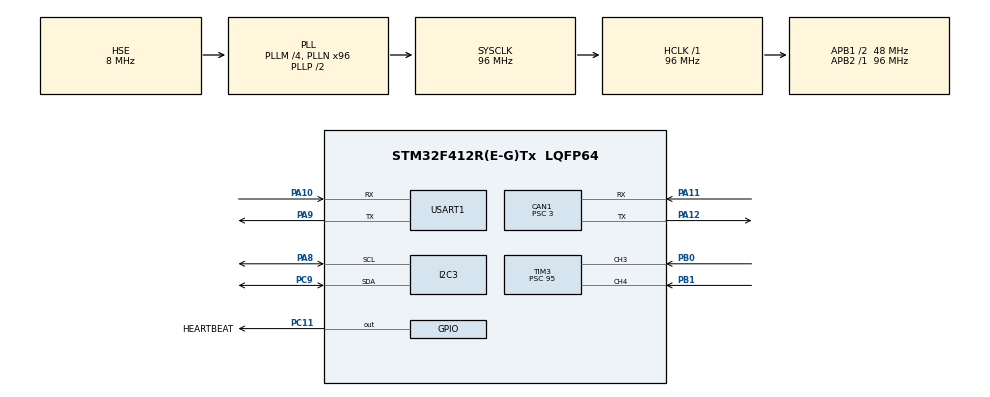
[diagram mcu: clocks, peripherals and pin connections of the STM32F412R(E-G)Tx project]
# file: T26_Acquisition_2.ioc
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CAN1.ABOM=ENABLE
CAN1.BS1=CAN_BS1_11TQ
CAN1.BS2=CAN_BS2_4TQ
CAN1.CalculateBaudRate=1000000
CAN1.CalculateTimeBit=1000
CAN1.CalculateTimeQuantum=62.5
CAN1.NART=ENABLE
CAN1.Prescaler=3
Dma.I2C3_RX.0.Direction=DMA_PERIPH_TO_MEMORY
Dma.I2C3_RX.0.FIFOMode=DMA_FIFOMODE_DISABLE
Dma.I2C3_RX.0.Instance=DMA1_Stream1
Dma.I2C3_RX.0.MemDataAlignment=DMA_MDATAALIGN_BYTE
Dma.I2C3_RX.0.MemInc=DMA_MINC_ENABLE
Dma.I2C3_RX.0.Mode=DMA_NORMAL
Dma.I2C3_RX.0.PeriphDataAlignment=DMA_PDATAALIGN_BYTE
Dma.I2C3_RX.0.PeriphInc=DMA_PINC_DISABLE
Dma.I2C3_RX.0.Priority=DMA_PRIORITY_LOW
Dma.Request0=I2C3_RX
IWDG.Prescaler=IWDG_PRESCALER_64
IWDG.Reload=1000
Mcu.Family=STM32F4
Mcu.Name=STM32F412R(E-G)Tx
Mcu.Package=LQFP64
NVIC.CAN1_RX0_IRQn=true\:0\:0\:false\:false\:true\:true\:true\:true
NVIC.CAN1_RX1_IRQn=true\:0\:0\:false\:false\:true\:true\:true\:true
NVIC.CAN1_SCE_IRQn=true\:0\:0\:false\:false\:true\:true\:true\:true
NVIC.CAN1_TX_IRQn=true\:0\:0\:false\:false\:true\:true\:true\:true
NVIC.DMA1_Stream1_IRQn=true\:1\:0\:false\:false\:true\:false\:true\:true
NVIC.I2C3_ER_IRQn=true\:1\:0\:false\:false\:true\:true\:true\:true
NVIC.I2C3_EV_IRQn=true\:1\:0\:false\:false\:true\:true\:true\:true
NVIC.PriorityGroup=NVIC_PRIORITYGROUP_4
NVIC.TIM3_IRQn=true\:0\:0\:false\:false\:true\:true\:true\:true
NVIC.TIM7_IRQn=true\:0\:0\:false\:false\:true\:true\:true\:true
PA10.Mode=Asynchronous
PA10.Signal=USART1_RX
PA11.GPIO_PuPd=GPIO_PULLUP
PA11.Mode=CAN_Activate
PA11.Signal=CAN1_RX
PA12.Mode=CAN_Activate
PA12.Signal=CAN1_TX
PA13.Mode=Serial_Wire
PA13.Signal=SYS_JTMS-SWDIO
PA14.Mode=Serial_Wire
PA14.Signal=SYS_JTCK-SWCLK
PA8.GPIO_PuPd=GPIO_PULLUP
PA8.Mode=I2C
PA8.Signal=I2C3_SCL
PA9.Mode=Asynchronous
PA9.Signal=USART1_TX
PB0.Signal=S_TIM3_CH3
PB1.Signal=S_TIM3_CH4
PC11.GPIO_Label=HEARTBEAT
PC11.Signal=GPIO_Output
PC9.GPIO_PuPd=GPIO_PULLUP
PC9.Mode=I2C
PC9.Signal=I2C3_SDA
PH0\ -\ OSC_IN.Mode=HSE-External-Oscillator
PH0\ -\ OSC_IN.Signal=RCC_OSC_IN
PH1\ -\ OSC_OUT.Mode=HSE-External-Oscillator
PH1\ -\ OSC_OUT.Signal=RCC_OSC_OUT
ProjectManager.HeapSize=0x200
ProjectManager.StackSize=0x400
ProjectManager.TargetToolchain=STM32CubeIDE
RCC.AHBFreq_Value=96000000
RCC.APB1CLKDivider=RCC_HCLK_DIV2
RCC.APB1Freq_Value=48000000
RCC.APB1TimFreq_Value=96000000
RCC.APB2Freq_Value=96000000
RCC.APB2TimFreq_Value=96000000
RCC.CortexFreq_Value=96000000
RCC.HCLKFreq_Value=96000000
RCC.HSE_VALUE=8000000
RCC.PLLM=4
RCC.PLLN=96
RCC.PLLSourceVirtual=RCC_PLLSOURCE_HSE
RCC.SYSCLKFreq_VALUE=96000000
RCC.SYSCLKSource=RCC_SYSCLKSOURCE_PLLCLK
RCC.USBFreq_Value=96000000
RCC.VCOOutputFreq_Value=192000000
SH.S_TIM3_CH3.0=TIM3_CH3,Input_Capture3_from_TI3
SH.S_TIM3_CH4.0=TIM3_CH4,Input_Capture4_from_TI4
TIM3.Channel-Input_Capture3_from_TI3=TIM_CHANNEL_3
TIM3.Channel-Input_Capture4_from_TI4=TIM_CHANNEL_4
TIM3.ICFilter_CH3=4
TIM3.ICFilter_CH4=4
TIM3.Prescaler=95
TIM7.Period=47999
TIM7.Prescaler=1
USART1.VirtualMode=VM_ASYNC
VP_IWDG_VS_IWDG.Mode=IWDG_Activate
VP_TIM7_VS_ClockSourceINT.Mode=Enable_Timer
board=custom

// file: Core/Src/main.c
/* USER CODE BEGIN Header */
/**
  ******************************************************************************
  * @file           : main.c
  * @brief          : Main program body
  ******************************************************************************
  * @attention
  *
  * Copyright (c) 2026 STMicroelectronics.
  * All rights reserved.
  *
  * This software is licensed under terms that can be found in the LICENSE file
  * in the root directory of this software component.
  * If no LICENSE file comes with this software, it is provided AS-IS.
  *
  ******************************************************************************
  */
/* USER CODE END Header */
#include "main.h"
#include "can.h"
#include "dma.h"
#include "i2c.h"
#include "iwdg.h"
#include "tim.h"
#include "usart.h"
#include "gpio.h"

/* USER CODE BEGIN Includes */
#include <stdio.h>
#include <math.h>
#include <string.h>
#include "data_t26.h"   // Generated by cantools from DBC (AQT2 message, etc.)
#include "mlx90641.h"
#include "thermal_can.h"
#include "wheel_speed.h"

/* USER CODE END Includes */

/* USER CODE BEGIN PD */
// CAN fault must last this long before CAN1 is fully restarted (ABOM normally clears bus-off in a few ms)
#define CAN_RECOVER_MS  200
#define CAN_DEBUG_ITS   (CAN_IT_TX_MAILBOX_EMPTY | CAN_IT_ERROR_WARNING | CAN_IT_ERROR_PASSIVE | \
                         CAN_IT_BUSOFF | CAN_IT_LAST_ERROR_CODE | CAN_IT_ERROR)

// 1 = read the MLX90641 (non-blocking: I2C by interrupt + DMA) and stream it on CAN
#define INFRARED_CAMERA_ENABLE  1

/* USER CODE END PD */

/* USER CODE BEGIN PV */
volatile uint32_t time_ms = 0;

// --- DEBUG SNAPSHOT (add "aqt2" to Live Expressions) ---
typedef struct {
    uint32_t time_ms;
    uint8_t  iwdg_reset;            // 1 = last reset was caused by the watchdog
    uint8_t  wheel_speed_self_check;    // 1 = rpm calculation passed its boot test
    WheelSpeed wheel[2];            // copy of wheel_speed[]: [0] = PB0 front left, [1] = PB1 front right
    struct {
        uint32_t tx_queued;         // AQT2 frames queued (every 10 ms from the TIM7 interrupt)
        uint32_t tx_queue_fail;     // AQT2 not queued (no free mailbox / CAN not running)
        uint32_t wheel_frame_max_gap_ms;    // longest interval between two queued AQT2 frames (expected 10)
        uint32_t tx_ok;             // frame ACKed on the bus
        uint32_t err_count;         // HAL_CAN_ErrorCallback hits
        uint32_t recover_count;     // CAN1 restarts done by can_watchdog()
        uint32_t last_error;        // HAL_CAN_ERROR_* bits of the latest error (0x20 ACK, 0x08 stuff, 0x10 form,
                                    // 0x40/0x80 bit rec/dom, 0x100 CRC, 0x04 bus-off, 0x1000 TX_TERR0...)
        uint32_t error_flags;       // every HAL_CAN_ERROR_* bit seen since boot
        uint8_t  tec;               // transmit error counter (>=128 passive, >255 bus-off)
        uint8_t  rec;               // receive error counter
        uint8_t  bus_off;
        uint8_t  error_passive;
        uint8_t  error_warning;
        uint8_t  free_mailboxes;    // 0..3
        uint8_t  state;             // HAL_CAN_StateTypeDef (2 = LISTENING = running)
        uint8_t  last_tx[8];        // payload of the last queued AQT2 frame
    } can;
    MLX90641 mlx;                   // IR array on I2C3, copy of mlx90641 (see mlx90641.h)
} DebugData;

volatile DebugData aqt2;

// Tasks Prototypes
void execute_immediate_tasks(void);
void execute_10ms_tasks(void);
void execute_50ms_tasks(void);
void execute_100ms_tasks(void);

/* USER CODE END PV */

void SystemClock_Config(void);
/* USER CODE BEGIN PFP */

int _write(int file, char *data, int len) {
    HAL_UART_Transmit(&huart1, (uint8_t*) data, len, HAL_MAX_DELAY);
    return len;
}

/* USER CODE END PFP */

/* USER CODE BEGIN 0 */
// AQT2 (front wheel rpm, raw = rpm). Sent every 10 ms from the TIM7 interrupt, so nothing in
// the main loop can delay it. thermal_can.c leaves one TX mailbox free and queues under a critical section.
static void send_wheel_speed_frame(void) {
    static uint32_t last_queued_ms;
    CAN_TxHeaderTypeDef header = { .StdId = DATA_T26_AQT2_FRAME_ID, .IDE = CAN_ID_STD,
                                   .RTR = CAN_RTR_DATA, .DLC = DATA_T26_AQT2_LENGTH };
    uint8_t payload[8];
    uint32_t mailbox;

    wheel_speed_update();
    struct data_t26_aqt2_t message = {
        .front_left_wheel_rpm  = (uint16_t)(wheel_speed[0].rpm + 0.5f),
        .front_right_wheel_rpm = (uint16_t)(wheel_speed[1].rpm + 0.5f),
    };
    data_t26_aqt2_pack(payload, &message, sizeof(payload));

    if (HAL_CAN_AddTxMessage(&hcan1, &header, payload, &mailbox) != HAL_OK) {
        aqt2.can.tx_queue_fail++;
        return;
    }
    if (aqt2.can.tx_queued && time_ms - last_queued_ms > aqt2.can.wheel_frame_max_gap_ms) {
        aqt2.can.wheel_frame_max_gap_ms = time_ms - last_queued_ms;
    }
    last_queued_ms = time_ms;
    aqt2.can.tx_queued++;
    memcpy((void *)aqt2.can.last_tx, payload, DATA_T26_AQT2_LENGTH);
}

void HAL_TIM_PeriodElapsedCallback(TIM_HandleTypeDef* htim){
    if (htim->Instance == TIM7) {
        time_ms++;
        if (time_ms % 10 == 0) {
            send_wheel_speed_frame();
        }
    } else if (htim->Instance == TIM3) {
        wheel_speed_timer_overflow();
    }
}

// Rising edges on PB0 (TIM3_CH3) and PB1 (TIM3_CH4)
void HAL_TIM_IC_CaptureCallback(TIM_HandleTypeDef *htim) {
    if (htim->Instance != TIM3) {
        return;
    }
    if (htim->Channel == HAL_TIM_ACTIVE_CHANNEL_3) {
        wheel_speed_capture(0, HAL_TIM_ReadCapturedValue(htim, TIM_CHANNEL_3));
    }
    if (htim->Channel == HAL_TIM_ACTIVE_CHANNEL_4) {
        wheel_speed_capture(1, HAL_TIM_ReadCapturedValue(htim, TIM_CHANNEL_4));
    }
}

// CAN debug callbacks (need HAL_CAN_ActivateNotification in main)
void HAL_CAN_TxMailbox0CompleteCallback(CAN_HandleTypeDef *hcan) { aqt2.can.tx_ok++; }
void HAL_CAN_TxMailbox1CompleteCallback(CAN_HandleTypeDef *hcan) { aqt2.can.tx_ok++; }
void HAL_CAN_TxMailbox2CompleteCallback(CAN_HandleTypeDef *hcan) { aqt2.can.tx_ok++; }

void HAL_CAN_ErrorCallback(CAN_HandleTypeDef *hcan) {
    aqt2.can.err_count++;
    aqt2.can.last_error = hcan->ErrorCode;
    aqt2.can.error_flags |= hcan->ErrorCode;
    HAL_CAN_ResetError(hcan);
}
/* USER CODE END 0 */

int main(void)
{

  /* MCU Configuration--------------------------------------------------------*/

  /* Reset of all peripherals, Initializes the Flash interface and the Systick. */
  HAL_Init();

  /* Configure the system clock */
  SystemClock_Config();

  /* Initialize all configured peripherals */
  MX_GPIO_Init();
  MX_DMA_Init();
  MX_CAN1_Init();
  MX_USART1_UART_Init();
  MX_TIM7_Init();
  MX_IWDG_Init();
  MX_TIM3_Init();
  MX_I2C3_Init();
  /* USER CODE BEGIN 2 */
  aqt2.wheel_speed_self_check = wheel_speed_self_check();
  HAL_TIM_Base_Start_IT(&htim7);    // 1 ms tick + AQT2 every 10 ms
  wheel_speed_start();              // input capture on PB0/PB1

  // Debug: TX-complete + error interrupts feed aqt2.can
  HAL_CAN_ActivateNotification(&hcan1, CAN_DEBUG_ITS);

  aqt2.iwdg_reset = __HAL_RCC_GET_FLAG(RCC_FLAG_IWDGRST);
  __HAL_RCC_CLEAR_RESET_FLAGS();

  /* USER CODE END 2 */

  /* Infinite loop */
    while (1) {

    /* USER CODE BEGIN 3 */

        // Execute immediate tasks
        execute_immediate_tasks();

        static uint32_t previus_tick_10ms = 0;
        static uint32_t previus_tick_50ms = 0;
        static uint32_t previus_tick_100ms = 0;

        // Execute 10ms Tasks
        if (time_ms - previus_tick_10ms >= 10) {
            execute_10ms_tasks();
            previus_tick_10ms = time_ms;
        }

        // Execute 50ms Tasks
        if (time_ms - previus_tick_50ms >= 50) {
            execute_50ms_tasks();
            previus_tick_50ms = time_ms;
        }

        // Execute 100ms Tasks
        if (time_ms - previus_tick_100ms >= 100) {
            execute_100ms_tasks();
            previus_tick_100ms = time_ms;
        }
    }

  /* USER CODE END 3 */
}

void SystemClock_Config(void)
{
  RCC_OscInitTypeDef RCC_OscInitStruct = {0};
  RCC_ClkInitTypeDef RCC_ClkInitStruct = {0};

  /** Configure the main internal regulator output voltage
  */
  __HAL_RCC_PWR_CLK_ENABLE();
  __HAL_PWR_VOLTAGESCALING_CONFIG(PWR_REGULATOR_VOLTAGE_SCALE1);

  /** Initializes the RCC Oscillators according to the specified parameters
  * in the RCC_OscInitTypeDef structure.
  */
  RCC_OscInitStruct.OscillatorType = RCC_OSCILLATORTYPE_LSI|RCC_OSCILLATORTYPE_HSE;
  RCC_OscInitStruct.HSEState = RCC_HSE_ON;
  RCC_OscInitStruct.LSIState = RCC_LSI_ON;
  RCC_OscInitStruct.PLL.PLLState = RCC_PLL_ON;
  RCC_OscInitStruct.PLL.PLLSource = RCC_PLLSOURCE_HSE;
  RCC_OscInitStruct.PLL.PLLM = 4;
  RCC_OscInitStruct.PLL.PLLN = 96;
  RCC_OscInitStruct.PLL.PLLP = RCC_PLLP_DIV2;
  RCC_OscInitStruct.PLL.PLLQ = 2;
  RCC_OscInitStruct.PLL.PLLR = 2;
  if (HAL_RCC_OscConfig(&RCC_OscInitStruct) != HAL_OK)
  {
    Error_Handler();
  }

  /** Initializes the CPU, AHB and APB buses clocks
  */
  RCC_ClkInitStruct.ClockType = RCC_CLOCKTYPE_HCLK|RCC_CLOCKTYPE_SYSCLK
                              |RCC_CLOCKTYPE_PCLK1|RCC_CLOCKTYPE_PCLK2;
  RCC_ClkInitStruct.SYSCLKSource = RCC_SYSCLKSOURCE_PLLCLK;
  RCC_ClkInitStruct.AHBCLKDivider = RCC_SYSCLK_DIV1;
  RCC_ClkInitStruct.APB1CLKDivider = RCC_HCLK_DIV2;
  RCC_ClkInitStruct.APB2CLKDivider = RCC_HCLK_DIV1;

  if (HAL_RCC_ClockConfig(&RCC_ClkInitStruct, FLASH_LATENCY_3) != HAL_OK)
  {
    Error_Handler();
  }
}

/* USER CODE BEGIN 4 */
void execute_immediate_tasks() {
#if INFRARED_CAMERA_ENABLE
    thermal_can_task();     // streams the 24 AQT2_Temperatures blocks of each new IR frame
#endif
}

// Copy current state into aqt2 (ISR counters are updated in the callbacks)
static void debug_update(void) {
    aqt2.time_ms = time_ms;

    memcpy((void *)aqt2.wheel, wheel_speed, sizeof(wheel_speed));

    uint32_t esr = hcan1.Instance->ESR;
    aqt2.can.tec            = (esr & CAN_ESR_TEC) >> CAN_ESR_TEC_Pos;
    aqt2.can.rec            = (esr & CAN_ESR_REC) >> CAN_ESR_REC_Pos;
    aqt2.can.bus_off        = (esr & CAN_ESR_BOFF) != 0;
    aqt2.can.error_passive  = (esr & CAN_ESR_EPVF) != 0;
    aqt2.can.error_warning  = (esr & CAN_ESR_EWGF) != 0;
    aqt2.can.free_mailboxes = HAL_CAN_GetTxMailboxesFreeLevel(&hcan1);
    aqt2.can.state          = HAL_CAN_GetState(&hcan1);

    memcpy((void *)&aqt2.mlx, &mlx90641, sizeof(mlx90641));
}

// CAN1 watchdog: if the peripheral is not running (Start timed out), stays bus-off
// (hardware ABOM didn't recover) or has all 3 TX mailboxes stuck for CAN_RECOVER_MS,
// restart it from scratch. Keeps retrying every CAN_RECOVER_MS until healthy.
static void can_watchdog(void) {
    static uint32_t last_healthy_ms = 0;

    uint8_t healthy = HAL_CAN_GetState(&hcan1) == HAL_CAN_STATE_LISTENING
                   && !(hcan1.Instance->ESR & CAN_ESR_BOFF)
                   && HAL_CAN_GetTxMailboxesFreeLevel(&hcan1) > 0;

    if (healthy) {
        last_healthy_ms = time_ms;
        return;
    }
    if (time_ms - last_healthy_ms < CAN_RECOVER_MS) {
        return;
    }

    HAL_CAN_DeInit(&hcan1);          // IRQs + clock off, HAL state -> RESET
    __HAL_RCC_CAN1_FORCE_RESET();    // real peripheral reset: DeInit writes MCR_RESET with the clock already off
    __HAL_RCC_CAN1_RELEASE_RESET();
    MX_CAN1_Init();                  // init + filter + start (blocks <= ~30 ms, IWDG is 2 s)
    HAL_CAN_ActivateNotification(&hcan1, CAN_DEBUG_ITS);

    aqt2.can.recover_count++;
    last_healthy_ms = time_ms;       // next attempt only after another CAN_RECOVER_MS
}

void execute_10ms_tasks() {
    HAL_IWDG_Refresh(&hiwdg);
    can_watchdog();
#if INFRARED_CAMERA_ENABLE
    mlx90641_task();
#endif
    debug_update();
}

void execute_50ms_tasks() {
    // AQT2 moved to the TIM7 interrupt (send_wheel_speed_frame)
}

void execute_100ms_tasks() {
    HAL_GPIO_TogglePin(HEARTBEAT_GPIO_Port, HEARTBEAT_Pin); // HEARTBEAT

    // Velocity sensor debug (blocking UART, ~4 ms at 115200)
    printf("Wheel 1: %.1f RPM | Wheel 2: %.1f RPM\r\n", wheel_speed[0].rpm, wheel_speed[1].rpm);
}
/* USER CODE END 4 */

void Error_Handler(void)
{
    __disable_irq();
    while (1) {
    }
}
